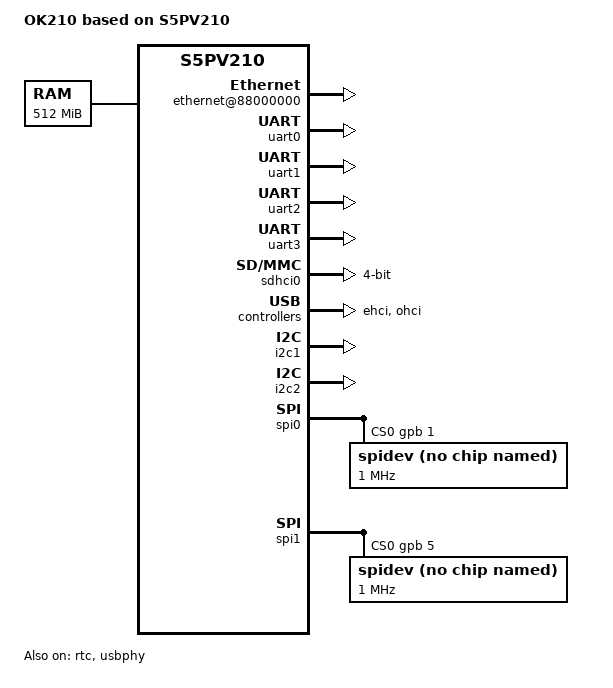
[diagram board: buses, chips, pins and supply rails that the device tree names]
// SPDX-License-Identifier: GPL-2.0
/*
 * Samsung's S5PV210 SoC device tree source
 *
 * Copyright (c) 2013-2014 Samsung Electronics, Co. Ltd.
 *
 * Mateusz Krawczuk <m.krawczuk@partner.samsung.com>
 * Tomasz Figa <t.figa@samsung.com>
 *
 * Board device tree source for Samsung Goni board.
 */

/dts-v1/;
// #include <dt-bindings/input/input.h>
#include "s5pv210.dtsi"

/ {
	model = "OK210 based on S5PV210";
	compatible = "ok210", "samsung,s5pv210";

	chosen {
		// bootargs = "console=ttySAC2,115200n8 root=/dev/mmcblk0p2 rw rootwait ignore_loglevel earlyprintk";
		bootargs = "console=ttySAC2,115200n8 root=/dev/nfs nfsroot=192.168.3.150:/srv/gblw210_rootfs,v3,tcp ip=192.168.3.170:::255.255.255.0:gblw210:eth0::off rw rootwait ignore_loglevel earlyprintk";
	};

	memory@20000000 {
		device_type = "memory";
		reg = <0x30000000 0x20000000>;
	};

	ethernet@88000000 {
		compatible = "davicom,dm9000";
		reg = <0x88000000 0x2 
				0x88000004 0x2>;
		interrupt-parent = <&gph1>;
		interrupts = <1 4>;
		local-mac-address = [b2 2c 7c 04 74 43];
		davicom,no-eeprom;
		clocks = <&clocks CLK_SROMC>;
		clock-names = "sromc";
	};

};

&xxti {
    clock-frequency = <24000000>;
};

&xusbxti {
	clock-frequency = <24000000>;
};

&uart0 {
	status = "okay";
};

&uart1 {
	status = "okay";
};

&uart2 {
	status = "okay";
};

&uart3 {
	status = "okay";
};

&rtc {
	status = "okay";
};

&sdhci0 {
	bus-width = <4>;
	pinctrl-0 = <&sd0_clk &sd0_cmd &sd0_cd &sd0_bus1 &sd0_bus4>;
	pinctrl-names = "default";
	status = "okay";
};

// &hsotg {
// 	vusb_a-supply = <&ldo3_reg>;
// 	vusb_d-supply = <&ldo8_reg>;
// 	dr_mode = "peripheral";
// 	status = "okay";
// };

&usbphy {
	status = "okay";
};

&ehci {
	status = "okay";
};

&ohci {
	status = "okay";
};

&pwm {
	samsung,pwm-outputs = <3>;
};

&i2c1 {
	samsung,i2c-sda-delay = <100>;
	samsung,i2c-max-bus-freq = <400000>;
	samsung,i2c-slave-addr = <0x10>;
	status = "okay";
};

&i2c2 {
	samsung,i2c-sda-delay = <100>;
	samsung,i2c-max-bus-freq = <400000>;
	samsung,i2c-slave-addr = <0x10>;
	status = "okay";
};

&spi0 { // 靠近网卡的MCP2515
	num-cs = <1>;
	cs-gpios = <&gpb 1 0>;
	status = "okay";

	spidev@0 {
		#address-cells = <1>;
		#size-cells = <1>;
		compatible = "spidev";
		reg = <0>;
		spi-max-frequency = <1000000>;
		controller-data {
			samsung,spi-feedback-delay = <0>;
		};
	};
};

&spi1 { // 靠近复位的MCP2515
	num-cs = <1>;
	cs-gpios = <&gpb 5 0>;
	status = "okay";

	spidev@0 {
		#address-cells = <1>;
		#size-cells = <1>;
		compatible = "spidev";
		reg = <0>;
		spi-max-frequency = <1000000>;
		controller-data {
			samsung,spi-feedback-delay = <0>;
		};
	};
};

&pinctrl0 {
	eint7: ext-int7 {
		samsung,pins = "gph0-7";
		samsung,pin-function = <EXYNOS_PIN_FUNC_F>;
		samsung,pin-pud = <S3C64XX_PIN_PULL_NONE>;
		samsung,pin-drv = <EXYNOS4_PIN_DRV_LV1>;
	};
};
